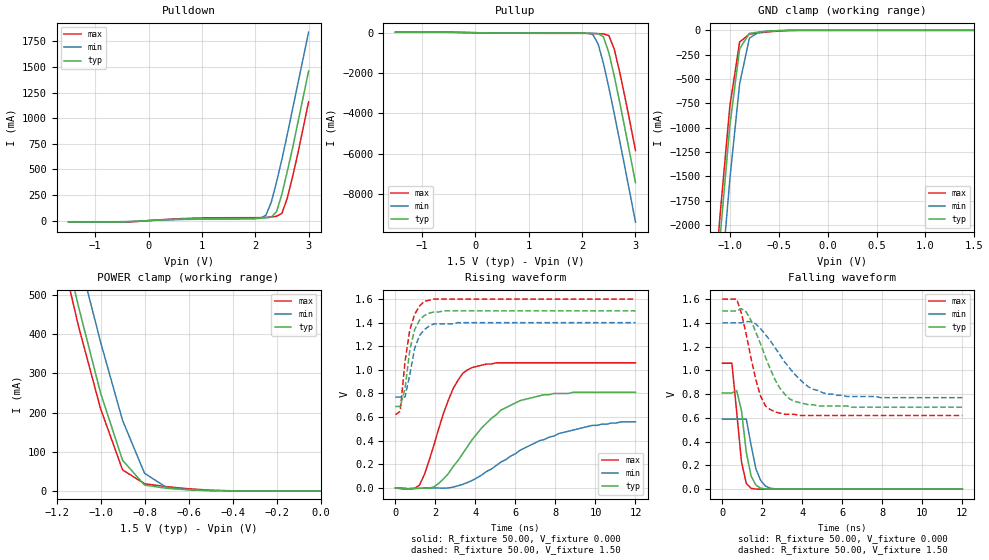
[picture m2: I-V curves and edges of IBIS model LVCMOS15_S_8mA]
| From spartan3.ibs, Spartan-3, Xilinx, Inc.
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|   Model LVCMOS15_S_8mA
[Model]   LVCMOS15_S_8mA
Model_type   I/O
Polarity   Non-Inverting
Enable   Active-Low
Vinl =   0.30V
Vinh =   1.05V
Vmeas =   0.75V
Rref =   1.00M
Cref =  0.000F
Vref =  0.000V
C_comp   6.38pF   4.60pF   8.23pF
[Temperature Range]   25.00   85.00   0.000
[Voltage Range]   1.50V   1.40V   1.60V
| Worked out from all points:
|   slope of the pulldown table from 0 to 0.225 V, typ, clamps not added: 34.2 ohm
|   slope of the pullup table from 0 to 0.225 V, typ, clamps not added: 29.6 ohm
|   GND clamp passes 1 mA (typ) near -0.42 V on its own axis
|   POWER clamp passes 1 mA (typ) near -0.52 V on its own axis
|   rising waveform, R_fixture 50.00, V_fixture 0.000: 20-80 % time 2.4ns typ, 3.68ns min, 1.26ns max; typ from 0 V to 0.81 V
|   rising waveform, R_fixture 50.00, V_fixture 1.50: 20-80 % time 468ps typ, 526ps min, 503ps max; typ from 0.69 V to 1.5 V
|   falling waveform, R_fixture 50.00, V_fixture 0.000: 20-80 % time 409ps typ, 481ps min, 380ps max; typ from 0.81 V to 0 V
|   falling waveform, R_fixture 50.00, V_fixture 1.50: 20-80 % time 1.24ns typ, 1.76ns min, 797ps max; typ from 1.5 V to 0.69 V
[Pulldown]
| voltage   I(typ)   I(min)   I(max)
-1.5V     -13.76mA   -10.93mA   -15.41mA
-400mV    -11.61mA   -8.73mA    -13.95mA
2V        22.53mA    18.39mA    28.84mA
2.1V      23.79mA    22.93mA    29.43mA
2.2V      26.85mA    53.4mA     31.67mA
2.3V      33.59mA    180mA      36.01mA
2.4V      88.36mA    380mA      42.4mA
2.5V      260mA      600mA      71.66mA
2.6V      480mA      840mA      220mA
2.7V      710mA      1.09A      430mA
2.8V      960mA      1.34A      660mA
3V        1.46A      1.84A      1.16A
[Pullup]
| voltage   I(typ)   I(min)   I(max)
-1.5V     25.05mA    19.62mA    30.61mA
1.9V      -19.48mA   -15.11mA   -31.45mA
2.1V      -25.61mA   -27.35mA   -34.71mA
2.2V      -32.75mA   -89.72mA   -41.15mA
2.3V      -46.23mA   -560mA     -50.38mA
2.4V      -210mA     -1.53A     -62.52mA
2.5V      -990mA     -2.72A     -140mA
2.6V      -2.13A     -4A        -800mA
2.7V      -3.4A      -5.32A     -1.91A
2.8V      -4.73A     -6.67A     -3.17A
3V        -7.45A     -9.41A     -5.85A
[GND_clamp]
| voltage   I(typ)   I(min)   I(max)
-1.5V     -7.45A     -8.03A     -7.22A
-1.2V     -3.4A      -4A        -3.16A
-1.1V     -2.13A     -2.72A     -1.9A
-1V       -980mA     -1.53A     -780mA
-900mV    -190mA     -550mA     -120mA
-800mV    -31.05mA   -80.69mA   -39.18mA
-700mV    -16.94mA   -16.42mA   -26.23mA
-500mV    -3.31mA    -3.01mA    -7.22mA
-300mV    -39.58uA   -73.96uA   -160uA
1.5V      1.97nA     75.33nA    6.34nA
[POWER_clamp]
| voltage   I(typ)   I(min)   I(max)
-1.5V     1.46A      1.59A      1.41A
-1.2V     710mA      840mA      660mA
-1.1V     470mA      600mA      420mA
-1V       250mA      380mA      210mA
-900mV    78.2mA     180mA      53.65mA
-800mV    14.96mA    44.95mA    18.34mA
-700mV    6.69mA     8.78mA     10.89mA
-600mV    2.8mA      2.96mA     5.51mA
-400mV    81.59uA    140uA      290uA
0V        1.97nA     14.63nA    7.4nA
[Ramp]
| variable   typ   min   max
dV/dt_r   0.49/2.43n   0.34/3.68n   0.64/1.26n
dV/dt_f   0.48/1.21n   0.38/1.75n   0.59/0.78n
R_load = 50.00
[Rising Waveform]
R_fixture = 50.00
V_fixture = 0.000
| time   V(typ)   V(min)   V(max)
0s        0V         0V         0V
1.2ns     -1.64mV    -2.9mV     23.62mV
1.92ns    8.99mV     -170uV     360mV
2.4ns     76.01mV    -1.68mV    630mV
2.88ns    180mV      6.99mV     840mV
3.6ns     350mV      45.64mV    1V
4.8ns     590mV      160mV      1.05V
6.24ns    740mV      320mV      1.06V
8.16ns    800mV      460mV      1.06V
12ns      810mV      560mV      1.06V
[Rising Waveform]
R_fixture = 50.00
V_fixture = 1.50
V_fixture_min = 1.40
V_fixture_max = 1.60
| time   V(typ)   V(min)   V(max)
0s        690mV      770mV      620mV
240ps     690mV      770mV      650mV
480ps     840mV      770mV      1.07V
720ps     1.17V      960mV      1.34V
960ps     1.34V      1.18V      1.47V
1.2ns     1.42V      1.29V      1.54V
1.44ns    1.46V      1.34V      1.58V
1.92ns    1.49V      1.39V      1.6V
3.12ns    1.5V       1.4V       1.6V
12ns      1.5V       1.4V       1.6V
[Falling Waveform]
R_fixture = 50.00
V_fixture = 0.000
| time   V(typ)   V(min)   V(max)
0s        810mV      590mV      1.06V
480ps     810mV      590mV      1.06V
720ps     830mV      590mV      650mV
960ps     660mV      590mV      230mV
1.2ns     310mV      590mV      48.36mV
1.44ns    110mV      370mV      6.84mV
1.68ns    34.7mV     170mV      1.14mV
1.92ns    8.11mV     73.66mV    780uV
2.4ns     1.01mV     8.57mV     400uV
12ns      0V         670nV      0V
[Falling Waveform]
R_fixture = 50.00
V_fixture = 1.50
V_fixture_min = 1.40
V_fixture_max = 1.60
| time   V(typ)   V(min)   V(max)
0s        1.5V       1.4V       1.6V
720ps     1.5V       1.4V       1.6V
1.2ns     1.49V      1.41V      1.3V
1.92ns    1.22V      1.35V      780mV
2.16ns    1.11V      1.3V       700mV
2.64ns    920mV      1.19V      650mV
3.36ns    760mV      1.02V      630mV
4.08ns    720mV      890mV      620mV
5.04ns    700mV      810mV      620mV
12ns      690mV      770mV      620mV
